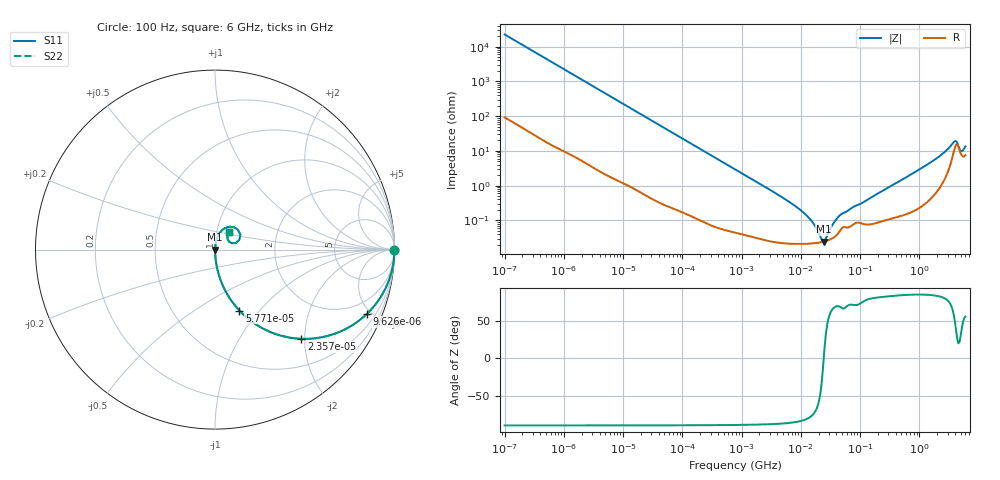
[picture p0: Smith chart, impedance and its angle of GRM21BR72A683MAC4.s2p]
!Murata Part Number: GRM21BR72A683MAC4
!These Parameters are Measured in Series Mode Connection
!Data Generated on Mar 30, 2021
!  o--ll--o
!Port1  Port2
!  o------o
!Operation Temp=25[degC], DC Bias Voltage=0[V]
!Freq. Start=100[Hz] Stop=6[GHz] 401[Steps]
# Hz S RI R 50
!Freq.(Hz) S11(Real) S11(Imag) S21(Real) S21(Imag) S12(Real) S12(Imag) S22(Real) S22(Imag)
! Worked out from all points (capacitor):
!   401 points, 100 Hz to 6 GHz, reference 50 ohm
!   read as one part in series: C = 71.1 nF near 109 Hz
!   lowest |Z| = 24.5 mohm at 24.34 MHz (marker M1)
!   series resonance near 24.34 MHz, so ESL is about 600 pH
!   S11 on the Smith chart (normalised r, x): 100 Hz: open; 9.626 kHz: 1.02, -4.70; 23.57 kHz: 1.01, -1.93; 57.71 kHz: 1.01, -0.79; 6 GHz: 1.15, +0.22
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100  1 -0.00447  3.85e-05 0.00447  3.85e-05 0.00447  1 -0.00447
2008  0.9917 -0.0883  0.00828 0.0883  0.00828 0.0883  0.9917 -0.0883
5143  0.9498 -0.216  0.0502 0.216  0.0502 0.216  0.9498 -0.216
9626  0.8456 -0.3588  0.1544 0.3588  0.1544 0.3588  0.8456 -0.3588
23569  0.4816 -0.4969  0.5184 0.4969  0.5184 0.4969  0.4816 -0.4969
40335  0.2426 -0.4257  0.7574 0.4257  0.7574 0.4257  0.2426 -0.4257
57709  0.1363 -0.3399  0.8637 0.3399  0.8637 0.3399  0.1363 -0.3399
184852  0.0161 -0.1217  0.9839 0.1217  0.9839 0.1217  0.0161 -0.1217
774597  0.00133 -0.0296  0.9987 0.0296  0.9987 0.0296  0.00133 -0.0296
6644369  0.000224 -0.00325  0.9998 0.00325  0.9998 0.00325  0.000224 -0.00325
1.087309e7  0.000214 -0.00172  0.9998 0.00172  0.9998 0.00172  0.000214 -0.00172
1.555665e7  0.000219 -0.00089  0.9998 0.00089  0.9998 0.00089  0.000219 -0.00089
2.225763e7  0.000237 -0.000173  0.9998 0.000173  0.9998 0.000173  0.000237 -0.000173
2.434276e7  0.000245 -1e-07  0.9998 1e-07  0.9998 1e-07  0.000245 -1e-07
3.64232e7  0.000329 0.000815  0.9997 -0.000815  0.9997 -0.000815  0.000329 0.000815
4.764863e7  0.000552 0.00139  0.9994 -0.00139  0.9994 -0.00139  0.000552 0.00139
3.124326e8  0.00117 0.00912  0.9988 -0.00912  0.9988 -0.00912  0.00117 0.00912
1.712697e9  0.00759 0.0513  0.9924 -0.0513  0.9924 -0.0513  0.00759 0.0513
3.8344e9  0.1055 0.1247  0.8945 -0.1247  0.8945 -0.1247  0.1055 0.1247
4.193612e9  0.1411 0.0843  0.8589 -0.0843  0.8589 -0.0843  0.1411 0.0843
5.016141e9  0.0794 0.0435  0.9206 -0.0435  0.9206 -0.0435  0.0794 0.0435
6e9  0.0802 0.0958  0.9198 -0.0958  0.9198 -0.0958  0.0802 0.0958
